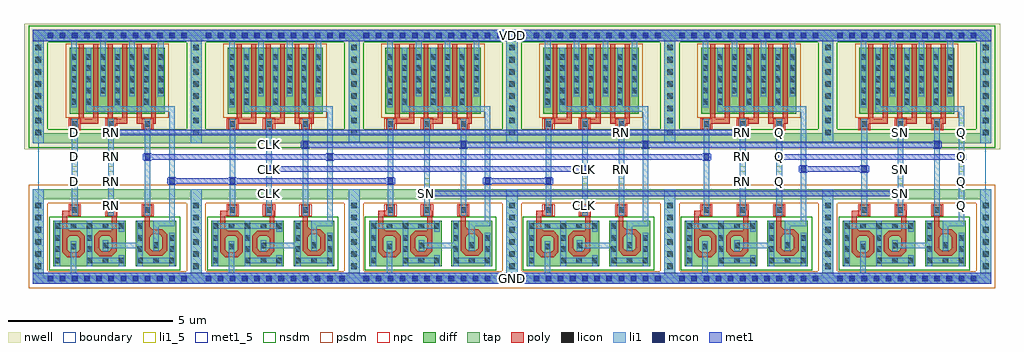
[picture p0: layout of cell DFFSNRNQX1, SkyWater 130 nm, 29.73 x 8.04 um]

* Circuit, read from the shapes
.subckt DFFSNRNQX1 CLK D GND Q RN SN VDD
XM1 n1 D GND GND sky130_fd_pr__nfet_01v8 w=2.6 l=0.1471
XM2 n1 RN n2 GND sky130_fd_pr__nfet_01v8 w=2.52 l=0.1477
XM3 n2 n3 n4 GND sky130_fd_pr__nfet_01v8 w=2.56 l=0.1472
XM4 n5 n4 GND GND sky130_fd_pr__nfet_01v8 w=2.6 l=0.1481
XM5 n5 CLK n6 GND sky130_fd_pr__nfet_01v8 w=2.52 l=0.1477
XM6 n6 n7 n3 GND sky130_fd_pr__nfet_01v8 w=2.56 l=0.147
XM7 n8 n4 GND GND sky130_fd_pr__nfet_01v8 w=2.6 l=0.1474
XM8 n8 SN n9 GND sky130_fd_pr__nfet_01v8 w=2.52 l=0.1477
XM9 n9 n7 n10 GND sky130_fd_pr__nfet_01v8 w=2.56 l=0.1472
XM10 n11 n10 GND GND sky130_fd_pr__nfet_01v8 w=2.6 l=0.1475
XM11 n11 CLK n12 GND sky130_fd_pr__nfet_01v8 w=2.52 l=0.1477
XM12 n12 RN n7 GND sky130_fd_pr__nfet_01v8 w=2.56 l=0.1472
XM13 n13 n3 GND GND sky130_fd_pr__nfet_01v8 w=2.6 l=0.1475
XM14 n13 RN n14 GND sky130_fd_pr__nfet_01v8 w=2.52 l=0.1477
XM15 n14 Q n15 GND sky130_fd_pr__nfet_01v8 w=2.56 l=0.1472
XM16 n16 n15 GND GND sky130_fd_pr__nfet_01v8 w=2.6 l=0.148
XM17 n16 SN n17 GND sky130_fd_pr__nfet_01v8 w=2.52 l=0.1477
XM18 n17 n7 Q GND sky130_fd_pr__nfet_01v8 w=2.56 l=0.1472
XM19 n4 D VDD VDD sky130_fd_pr__pfet_01v8 w=2 l=0.15 m=2
XM20 n4 RN VDD VDD sky130_fd_pr__pfet_01v8 w=2 l=0.15 m=2
XM21 n4 n3 VDD VDD sky130_fd_pr__pfet_01v8 w=2 l=0.15 m=2
XM22 n3 n4 VDD VDD sky130_fd_pr__pfet_01v8 w=2 l=0.15 m=2
XM23 n3 CLK VDD VDD sky130_fd_pr__pfet_01v8 w=2 l=0.15 m=2
XM24 n3 n7 VDD VDD sky130_fd_pr__pfet_01v8 w=2 l=0.15 m=2
XM25 n10 n4 VDD VDD sky130_fd_pr__pfet_01v8 w=2 l=0.15 m=2
XM26 n10 SN VDD VDD sky130_fd_pr__pfet_01v8 w=2 l=0.15 m=2
XM27 n10 n7 VDD VDD sky130_fd_pr__pfet_01v8 w=2 l=0.15 m=2
XM28 n7 n10 VDD VDD sky130_fd_pr__pfet_01v8 w=2 l=0.15 m=2
XM29 n7 CLK VDD VDD sky130_fd_pr__pfet_01v8 w=2 l=0.15 m=2
XM30 n7 RN VDD VDD sky130_fd_pr__pfet_01v8 w=2 l=0.15 m=2
XM31 n15 n3 VDD VDD sky130_fd_pr__pfet_01v8 w=2 l=0.15 m=2
XM32 n15 RN VDD VDD sky130_fd_pr__pfet_01v8 w=2 l=0.15 m=2
XM33 n15 Q VDD VDD sky130_fd_pr__pfet_01v8 w=2 l=0.15 m=2
XM34 Q n15 VDD VDD sky130_fd_pr__pfet_01v8 w=2 l=0.15 m=2
XM35 Q SN VDD VDD sky130_fd_pr__pfet_01v8 w=2 l=0.15 m=2
XM36 Q n7 VDD VDD sky130_fd_pr__pfet_01v8 w=2 l=0.15 m=2
.ends

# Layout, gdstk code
from math import pi, radians
import gdstk
lib = gdstk.Library(unit=1e-6, precision=1e-09)
def R(c, l, rs):  # rectangles x0, y0, x1, y1
    for r in rs: c.add(gdstk.rectangle(r[:2], r[2:], *l))
def A(c, l, x, y, w, h, nx, ny, dx, dy):  # array of equal rectangles
    R(c, l, [(x+i*dx, y+j*dy, x+i*dx+w, y+j*dy+h) for i in range(nx) for j in range(ny)])
def P(c, l, *ps):  # polygons
    for p in ps: c.add(gdstk.Polygon(p, *l))
nwell = (64, 20)
diff = (65, 20)
tap = (65, 44)
poly = (66, 20)
licon = (66, 44)
li1_5 = (67, 5)
li1 = (67, 20)
mcon = (67, 44)
met1_5 = (68, 5)
met1 = (68, 20)
nsdm = (93, 44)
psdm = (94, 20)
npc = (95, 20)
boundary = (235, 4)

li1_m1_contact = lib.new_cell('li1_M1_contact')
R(li1_m1_contact, li1, [(-0.085,-0.165,0.085,0.165)])
R(li1_m1_contact, mcon, [(-0.085,-0.085,0.085,0.085)])
R(li1_m1_contact, met1, [(-0.115,-0.115,0.115,-0.085), (-0.265,-0.085,0.145,0.085), (-0.115,0.085,0.115,0.115)])

poly_li1_contact = lib.new_cell('poly_li1_contact')
R(poly_li1_contact, poly, [(-0.16,-0.14,0.17,0.13)])
R(poly_li1_contact, licon, [(-0.08,-0.09,0.09,0.08)])
R(poly_li1_contact, li1, [(-0.16,-0.09,0.17,0.08)])
R(poly_li1_contact, npc, [(-0.18,-0.19,0.19,0.18)])

pmos2 = lib.new_cell('pmos2')
R(pmos2, nwell, [(0.26,-2.18,1.76,0.18)])
R(pmos2, diff, [(0.44,-2,1.58,0)])
R(pmos2, poly, [(0.72,-2.305,1.31,-2.155), (0.72,-2.155,0.87,0.13), (1.16,-2.155,1.31,0.13)])
A(pmos2, licon, 0.49, -1.38, 0.17, 0.17, 3, 4, 0.44, 0.34)
R(pmos2, li1, [(0.49,-1.465,0.66,0.21), (0.93,-1.465,1.1,0), (1.37,-1.465,1.54,0.21)])
R(pmos2, psdm, [(0.315,-2.125,1.705,0.125)])

nmos_bottom = lib.new_cell('nmos_bottom')
R(nmos_bottom, diff, [(0,0,1.24,1.38)])
R(nmos_bottom, poly, [(0.43,0.27,0.81,0.42), (0.28,0.42,0.43,0.925), (0.81,0.42,0.96,0.925), (0.43,0.925,0.96,1.075), (0.81,1.075,0.96,1.51)])
P(nmos_bottom, poly, [(0.73,1.075),(0.81,1.075),(0.81,1.155)],
  [(0.28,0.925),(0.43,0.925),(0.43,1.075)],
  [(0.43,0.845),(0.43,0.925),(0.51,0.925)],
  [(0.73,0.925),(0.81,0.925),(0.81,0.845)],
  [(0.43,0.5),(0.43,0.42),(0.51,0.42)],
  [(0.73,0.42),(0.81,0.42),(0.81,0.5)],
  [(0.28,0.42),(0.43,0.42),(0.43,0.27)],
  [(0.81,0.27),(0.81,0.42),(0.96,0.42)])
A(nmos_bottom, licon, 0.05, 1.13, 0.17, 0.17, 3, 1, 0.485, 0)
R(nmos_bottom, licon, [(0.05,0.08,0.22,0.25), (1.02,0.08,1.19,0.25), (0.05,0.43,0.22,0.6), (1.02,0.43,1.19,0.6), (0.535,0.505,0.705,0.675), (0.05,0.77,0.22,0.94), (1.02,0.77,1.19,0.94)])
R(nmos_bottom, li1, [(0.05,0,0.22,1.13), (1.02,0,1.19,1.13), (0.535,0.425,0.705,0.755), (0.05,1.13,1.19,1.3), (0.05,1.3,0.22,1.38), (1.02,1.3,1.19,1.38)])
R(nmos_bottom, nsdm, [(-0.125,-0.125,1.365,1.505)])

diff_ring_side = lib.new_cell('diff_ring_side')
R(diff_ring_side, nwell, [(-0.435,3.93,0.435,7.75)])
R(diff_ring_side, tap, [(-0.17,-0.17,0.17,2.72), (-0.17,4.11,0.17,7.57)])
A(diff_ring_side, licon, -0.085, 0.285, 0.17, 0.17, 1, 6, 0, 0.37)
A(diff_ring_side, licon, -0.085, 4.355, 0.17, 0.17, 1, 8, 0, 0.37)
R(diff_ring_side, li1, [(-0.17,-0.17,0.17,2.72), (-0.17,4.11,0.17,7.57)])
R(diff_ring_side, met1, [(-0.17,-0.17,0.17,0.17), (-0.17,7.23,0.17,7.57)])
R(diff_ring_side, nsdm, [(-0.295,3.985,0.295,7.695)])
R(diff_ring_side, psdm, [(-0.295,-0.295,0.295,2.845)])

nmos_side_left = lib.new_cell('nmos_side_left')
R(nmos_side_left, diff, [(0,0,1.24,1.38)])
R(nmos_side_left, poly, [(0.435,0.305,0.81,0.455), (0.285,0.455,0.435,0.925), (0.81,0.455,0.96,0.925), (0.435,0.925,0.96,1.075), (0.81,1.075,0.96,1.51)])
P(nmos_side_left, poly, [(0.285,0.925),(0.435,0.925),(0.435,1.075)],
  [(0.435,0.845),(0.435,0.925),(0.515,0.925)],
  [(0.73,0.925),(0.81,0.925),(0.81,0.845)],
  [(0.435,0.535),(0.435,0.455),(0.515,0.455)],
  [(0.73,0.455),(0.81,0.455),(0.81,0.535)],
  [(0.285,0.455),(0.435,0.455),(0.435,0.305)],
  [(0.81,0.305),(0.81,0.455),(0.96,0.455)])
A(nmos_side_left, licon, 0.05, 0.08, 0.17, 0.17, 3, 2, 0.485, 1.05)
R(nmos_side_left, licon, [(0.05,0.43,0.22,0.6), (0.54,0.535,0.71,0.705), (0.05,0.77,0.22,0.94)])
R(nmos_side_left, li1, [(0.05,0,0.22,0.08), (1.02,0,1.19,0.08), (0.05,0.08,1.19,0.25), (0.05,0.25,0.22,1.13), (1.02,0.25,1.19,0.33), (0.54,0.455,0.71,0.785), (1.02,1.05,1.19,1.13), (0.05,1.13,1.19,1.3), (0.05,1.3,0.22,1.38), (1.02,1.3,1.19,1.38)])
R(nmos_side_left, nsdm, [(-0.125,-0.125,1.365,1.505)])

nmos_top_trim1 = lib.new_cell('nmos_top_trim1')
R(nmos_top_trim1, diff, [(0,0,1.24,1.38)])
R(nmos_top_trim1, poly, [(0.43,0.31,0.81,0.46), (0.28,0.46,0.43,0.965), (0.81,0.46,0.96,0.965), (0.43,0.965,0.96,1.115), (0.81,1.115,0.96,1.545)])
P(nmos_top_trim1, poly, [(0.73,1.115),(0.81,1.115),(0.81,1.195)],
  [(0.28,0.965),(0.43,0.965),(0.43,1.115)],
  [(0.43,0.885),(0.43,0.965),(0.51,0.965)],
  [(0.73,0.965),(0.81,0.965),(0.81,0.885)],
  [(0.43,0.54),(0.43,0.46),(0.51,0.46)],
  [(0.73,0.46),(0.81,0.46),(0.81,0.54)],
  [(0.28,0.46),(0.43,0.46),(0.43,0.31)],
  [(0.81,0.31),(0.81,0.46),(0.96,0.46)])
A(nmos_top_trim1, licon, 0.05, 0.08, 0.17, 0.17, 3, 1, 0.485, 0)
R(nmos_top_trim1, licon, [(0.05,0.43,0.22,0.6), (1.02,0.43,1.19,0.6), (0.535,0.55,0.705,0.72), (0.05,0.77,0.22,0.94), (1.02,0.77,1.19,0.94), (1.02,1.13,1.19,1.3)])
R(nmos_top_trim1, li1, [(0.05,0,0.22,0.08), (1.02,0,1.19,0.08), (0.05,0.08,1.19,0.25), (0.05,0.25,0.22,1.02), (1.02,0.25,1.19,1.38), (0.535,0.47,0.705,0.805)])
R(nmos_top_trim1, nsdm, [(-0.125,-0.125,1.365,1.505)])

nand3x1_pcell = lib.new_cell('nand3x1_pcell')
R(nand3x1_pcell, nwell, [(0.435,3.93,4.375,5.28), (0.435,5.28,1.1,5.295), (1.395,5.28,4.375,5.495), (0.435,5.295,1.025,5.465), (1.145,5.295,1.315,5.465), (0.435,5.465,1.1,5.495), (0.435,5.495,4.375,7.75)])
A(nand3x1_pcell, diff, 1.445, 5.295, 0.17, 0.17, 3, 1, 0.88, 0)
R(nand3x1_pcell, diff, [(1.005,5.295,1.175,5.465)])
R(nand3x1_pcell, tap, [(0.17,-0.17,4.64,0.085), (0.17,2.41,4.64,2.72), (0.17,4.11,4.64,4.42), (0.17,7.315,4.64,7.57)])
R(nand3x1_pcell, poly, [(0.735,1.885,0.885,1.915), (2.235,1.885,2.385,1.915), (0.735,1.915,0.975,2.065), (2.355,1.915,2.385,2.065)])
A(nand3x1_pcell, licon, 0.285, -0.085, 0.17, 0.17, 12, 2, 0.37, 7.4)
A(nand3x1_pcell, licon, 1.445, 5.295, 0.17, 0.17, 3, 1, 0.88, 0)
R(nand3x1_pcell, licon, [(1.005,5.295,1.175,5.465)])
A(nand3x1_pcell, li1, 1.445, 5.24, 0.17, 0.315, 3, 1, 0.88, 0)
R(nand3x1_pcell, li1, [(0.17,-0.17,4.64,0.17), (0.99,0.17,1.16,0.835), (1.965,0.91,3.015,1.08), (3.5,1.175,3.67,1.58), (3.5,1.58,4.155,1.75), (3.985,1.75,4.155,5.07), (1.025,2.165,1.195,4.54), (2.135,2.165,2.305,4.54), (3.245,2.245,3.415,4.7), (1.445,5.07,4.155,5.24), (1.005,5.215,1.175,5.58), (0.17,7.23,4.64,7.57)])
A(nand3x1_pcell, mcon, 0.285, -0.085, 0.17, 0.17, 12, 2, 0.37, 7.4)
R(nand3x1_pcell, met1, [(0.17,-0.17,4.64,0.17), (0.17,7.23,4.64,7.57)])
R(nand3x1_pcell, nsdm, [(2.79,0.25,2.84,1.88), (0.045,3.985,4.765,4.545), (0.045,7.19,4.765,7.695)])
R(nand3x1_pcell, psdm, [(0.045,-0.295,4.765,0.21), (0.045,2.285,4.765,2.845), (0.88,5.17,1.74,5.59), (2.2,5.17,2.62,5.59), (3.08,5.17,3.5,5.59)])
nand3x1_pcell.add(gdstk.Reference(poly_li1_contact, (1.115,4.705), rotation=3*pi/2))
nand3x1_pcell.add(gdstk.Reference(pmos2, (0.515,7.02)))
nand3x1_pcell.add(gdstk.Reference(nmos_bottom, (1.695,0.375), rotation=pi, x_reflection=True))
nand3x1_pcell.add(gdstk.Reference(poly_li1_contact, (1.105,2.075), rotation=pi/2))
nand3x1_pcell.add(gdstk.Reference(diff_ring_side, (0,0)))
nand3x1_pcell.add(gdstk.Reference(poly_li1_contact, (2.215,4.695), rotation=pi/2))
nand3x1_pcell.add(gdstk.Reference(pmos2, (2.275,7.02)))
nand3x1_pcell.add(gdstk.Reference(pmos2, (1.395,7.02)))
nand3x1_pcell.add(gdstk.Reference(nmos_side_left, (1.425,0.375)))
nand3x1_pcell.add(gdstk.Reference(poly_li1_contact, (2.215,2.075), rotation=pi/2))
nand3x1_pcell.add(gdstk.Reference(poly_li1_contact, (3.335,4.705), rotation=3*pi/2))
nand3x1_pcell.add(gdstk.Reference(nmos_top_trim1, (4.205,0.375), rotation=pi, x_reflection=True))
nand3x1_pcell.add(gdstk.Reference(poly_li1_contact, (3.325,2.075), rotation=pi/2))
nand3x1_pcell.add(gdstk.Reference(diff_ring_side, (4.81,0)))

dffsnrnqx1 = lib.new_cell('DFFSNRNQX1')
R(dffsnrnqx1, nwell, [(0.285,7.315,0.455,7.485)])
A(dffsnrnqx1, li1_5, 28.035, 2.135, 0.17, 0.17, 1, 8, 0, 0.37)
A(dffsnrnqx1, li1_5, 1.025, 2.505, 0.17, 0.17, 1, 6, 0, 0.37)
A(dffsnrnqx1, li1_5, 2.135, 2.505, 0.17, 0.17, 3, 1, 4.81, 0)
A(dffsnrnqx1, li1_5, 26.185, 2.505, 0.17, 0.17, 1, 3, 0, 0.37)
A(dffsnrnqx1, li1_5, 2.135, 2.875, 0.17, 0.17, 1, 5, 0, 0.37)
A(dffsnrnqx1, li1_5, 21.375, 2.875, 0.17, 0.17, 1, 3, 0, 0.37)
A(dffsnrnqx1, li1_5, 22.485, 2.875, 0.17, 0.17, 1, 3, 0, 0.37)
R(dffsnrnqx1, li1_5, [(2.135,2.135,2.305,2.305), (11.755,2.135,11.925,2.305), (16.565,2.135,16.735,2.305), (11.755,2.875,11.925,3.045), (16.565,2.875,16.735,3.045), (17.675,2.875,17.845,3.045), (6.945,3.245,7.115,3.415), (16.565,3.245,16.735,3.415), (17.675,3.245,17.845,3.415), (6.945,3.985,7.115,4.155), (17.675,4.355,17.845,4.525), (21.375,4.355,21.545,4.525), (22.485,4.355,22.655,4.525), (26.185,4.355,26.355,4.525)])
A(dffsnrnqx1, li1, 28.035, 2.135, 0.17, 0.17, 1, 8, 0, 0.37)
A(dffsnrnqx1, li1, 1.025, 2.505, 0.17, 0.17, 1, 6, 0, 0.37)
A(dffsnrnqx1, li1, 2.135, 2.505, 0.17, 0.17, 3, 1, 4.81, 0)
A(dffsnrnqx1, li1, 26.185, 2.505, 0.17, 0.17, 1, 3, 0, 0.37)
A(dffsnrnqx1, li1, 2.135, 2.875, 0.17, 0.17, 1, 5, 0, 0.37)
A(dffsnrnqx1, li1, 21.375, 2.875, 0.17, 0.17, 1, 3, 0, 0.37)
A(dffsnrnqx1, li1, 22.485, 2.875, 0.17, 0.17, 1, 3, 0, 0.37)
R(dffsnrnqx1, li1, [(2.135,2.135,2.305,2.305), (11.755,2.135,11.925,2.305), (16.565,2.135,16.735,2.305), (11.755,2.875,11.925,3.045), (16.565,2.875,16.735,3.045), (17.675,2.875,17.845,3.045), (6.945,3.245,7.115,3.415), (16.565,3.245,16.735,3.415), (17.675,3.245,17.845,3.415), (6.945,3.985,7.115,4.155), (17.675,4.355,17.845,4.525), (21.375,4.355,21.545,4.525), (22.485,4.355,22.655,4.525), (26.185,4.355,26.355,4.525)])
R(dffsnrnqx1, met1_5, [(-0.17,-0.17,29.03,0.17), (-0.17,7.23,29.03,7.57)])
R(dffsnrnqx1, met1, [(-0.17,-0.17,29.03,0.17), (12.105,2.505,26.05,2.675), (13.785,2.875,15.275,3.045), (4.155,2.88,10.87,3.05), (7.295,3.245,16.455,3.415), (23.225,3.245,24.945,3.415), (3.58,3.615,20.12,3.785), (22.655,3.615,27.855,3.785), (8.3,3.985,27.45,4.155), (2.485,4.355,21.325,4.525), (-0.17,7.23,29.03,7.57)])
R(dffsnrnqx1, boundary, [(0,0,28.86,7.4)])
dffsnrnqx1.add(gdstk.Reference(li1_m1_contact, (3.33,3.7), rotation=pi))
dffsnrnqx1.add(gdstk.Reference(li1_m1_contact, (2.22,4.44), rotation=pi))
dffsnrnqx1.add(gdstk.Reference(li1_m1_contact, (4.07,2.965), rotation=pi))
dffsnrnqx1.add(gdstk.Reference(nand3x1_pcell, (4.81,0)))
dffsnrnqx1.add(gdstk.Reference(nand3x1_pcell, (0,0)))
dffsnrnqx1.add(gdstk.Reference(li1_m1_contact, (8.135,4.07), rotation=pi))
dffsnrnqx1.add(gdstk.Reference(li1_m1_contact, (7.03,3.33), rotation=pi))
dffsnrnqx1.add(gdstk.Reference(li1_m1_contact, (5.92,2.965), rotation=pi))
dffsnrnqx1.add(gdstk.Reference(li1_m1_contact, (10.73,2.965)))
dffsnrnqx1.add(gdstk.Reference(li1_m1_contact, (8.88,3.7), rotation=pi))
dffsnrnqx1.add(gdstk.Reference(nand3x1_pcell, (9.62,0)))
dffsnrnqx1.add(gdstk.Reference(li1_m1_contact, (11.84,2.59), rotation=pi))
dffsnrnqx1.add(gdstk.Reference(li1_m1_contact, (15.54,2.96)))
dffsnrnqx1.add(gdstk.Reference(li1_m1_contact, (12.95,4.07)))
dffsnrnqx1.add(gdstk.Reference(li1_m1_contact, (16.65,3.33)))
dffsnrnqx1.add(gdstk.Reference(li1_m1_contact, (13.69,2.96), rotation=pi))
dffsnrnqx1.add(gdstk.Reference(nand3x1_pcell, (14.43,0)))
dffsnrnqx1.add(gdstk.Reference(li1_m1_contact, (17.76,4.44), rotation=pi))
dffsnrnqx1.add(gdstk.Reference(li1_m1_contact, (20.35,3.7)))
dffsnrnqx1.add(gdstk.Reference(li1_m1_contact, (21.46,4.44)))
dffsnrnqx1.add(gdstk.Reference(li1_m1_contact, (18.5,4.07), rotation=pi))
dffsnrnqx1.add(gdstk.Reference(nand3x1_pcell, (19.24,0)))
dffsnrnqx1.add(gdstk.Reference(li1_m1_contact, (27.38,4.07)))
dffsnrnqx1.add(gdstk.Reference(li1_m1_contact, (25.16,3.33)))
dffsnrnqx1.add(gdstk.Reference(li1_m1_contact, (26.27,2.59)))
dffsnrnqx1.add(gdstk.Reference(li1_m1_contact, (23.31,3.33), rotation=pi))
dffsnrnqx1.add(gdstk.Reference(li1_m1_contact, (22.57,3.7), rotation=pi))
dffsnrnqx1.add(gdstk.Reference(li1_m1_contact, (28.12,3.7)))
dffsnrnqx1.add(gdstk.Reference(nand3x1_pcell, (24.05,0)))
dffsnrnqx1.add(gdstk.Label('Q', (28.12,3.7), layer=67, texttype=5))
dffsnrnqx1.add(gdstk.Label('Q', (28.12,4.07), layer=67, texttype=5))
dffsnrnqx1.add(gdstk.Label('Q', (28.12,4.44), layer=67, texttype=5))
dffsnrnqx1.add(gdstk.Label('Q', (28.12,4.81), layer=67, texttype=5))
dffsnrnqx1.add(gdstk.Label('Q', (28.12,3.33), layer=67, texttype=5))
dffsnrnqx1.add(gdstk.Label('Q', (28.12,2.96), layer=67, texttype=5))
dffsnrnqx1.add(gdstk.Label('Q', (28.12,2.59), layer=67, texttype=5))
dffsnrnqx1.add(gdstk.Label('Q', (28.12,2.22), layer=67, texttype=5))
dffsnrnqx1.add(gdstk.Label('Q', (22.57,4.44), layer=67, texttype=5))
dffsnrnqx1.add(gdstk.Label('Q', (22.57,3.7), layer=67, texttype=5))
dffsnrnqx1.add(gdstk.Label('Q', (22.57,3.33), layer=67, texttype=5))
dffsnrnqx1.add(gdstk.Label('Q', (22.57,2.96), layer=67, texttype=5))
dffsnrnqx1.add(gdstk.Label('D', (1.11,2.96), layer=67, texttype=5))
dffsnrnqx1.add(gdstk.Label('D', (1.11,2.59), layer=67, texttype=5))
dffsnrnqx1.add(gdstk.Label('D', (1.11,3.33), layer=67, texttype=5))
dffsnrnqx1.add(gdstk.Label('D', (1.11,3.7), layer=67, texttype=5))
dffsnrnqx1.add(gdstk.Label('D', (1.11,4.07), layer=67, texttype=5))
dffsnrnqx1.add(gdstk.Label('D', (1.11,4.44), layer=67, texttype=5))
dffsnrnqx1.add(gdstk.Label('CLK', (7.03,3.33), layer=67, texttype=5))
dffsnrnqx1.add(gdstk.Label('CLK', (7.03,2.59), layer=67, texttype=5))
dffsnrnqx1.add(gdstk.Label('CLK', (7.03,4.07), layer=67, texttype=5))
dffsnrnqx1.add(gdstk.Label('CLK', (16.65,3.33), layer=67, texttype=5))
dffsnrnqx1.add(gdstk.Label('CLK', (16.65,2.96), layer=67, texttype=5))
dffsnrnqx1.add(gdstk.Label('CLK', (16.65,2.22), layer=67, texttype=5))
dffsnrnqx1.add(gdstk.Label('SN', (11.84,2.59), layer=67, texttype=5))
dffsnrnqx1.add(gdstk.Label('SN', (11.84,2.96), layer=67, texttype=5))
dffsnrnqx1.add(gdstk.Label('SN', (26.27,2.59), layer=67, texttype=5))
dffsnrnqx1.add(gdstk.Label('SN', (26.27,2.96), layer=67, texttype=5))
dffsnrnqx1.add(gdstk.Label('SN', (26.27,3.33), layer=67, texttype=5))
dffsnrnqx1.add(gdstk.Label('SN', (26.27,4.44), layer=67, texttype=5))
dffsnrnqx1.add(gdstk.Label('SN', (11.84,2.22), layer=67, texttype=5))
dffsnrnqx1.add(gdstk.Label('RN', (2.22,4.44), layer=67, texttype=5))
dffsnrnqx1.add(gdstk.Label('RN', (2.22,4.07), layer=67, texttype=5))
dffsnrnqx1.add(gdstk.Label('RN', (2.22,3.7), layer=67, texttype=5))
dffsnrnqx1.add(gdstk.Label('RN', (2.22,3.33), layer=67, texttype=5))
dffsnrnqx1.add(gdstk.Label('RN', (2.22,2.96), layer=67, texttype=5))
dffsnrnqx1.add(gdstk.Label('RN', (2.22,2.59), layer=67, texttype=5))
dffsnrnqx1.add(gdstk.Label('RN', (2.22,2.22), layer=67, texttype=5))
dffsnrnqx1.add(gdstk.Label('RN', (17.76,3.33), layer=67, texttype=5))
dffsnrnqx1.add(gdstk.Label('RN', (17.76,2.96), layer=67, texttype=5))
dffsnrnqx1.add(gdstk.Label('RN', (17.76,4.44), layer=67, texttype=5))
dffsnrnqx1.add(gdstk.Label('RN', (21.46,2.96), layer=67, texttype=5))
dffsnrnqx1.add(gdstk.Label('RN', (21.46,3.33), layer=67, texttype=5))
dffsnrnqx1.add(gdstk.Label('RN', (21.46,3.7), layer=67, texttype=5))
dffsnrnqx1.add(gdstk.Label('RN', (21.46,4.44), layer=67, texttype=5))
dffsnrnqx1.add(gdstk.Label('VDD', (14.43,7.4), layer=68, texttype=5))
dffsnrnqx1.add(gdstk.Label('GND', (14.43,0), layer=68, texttype=5))

lib.write_gds('DFFSNRNQX1.gds')
